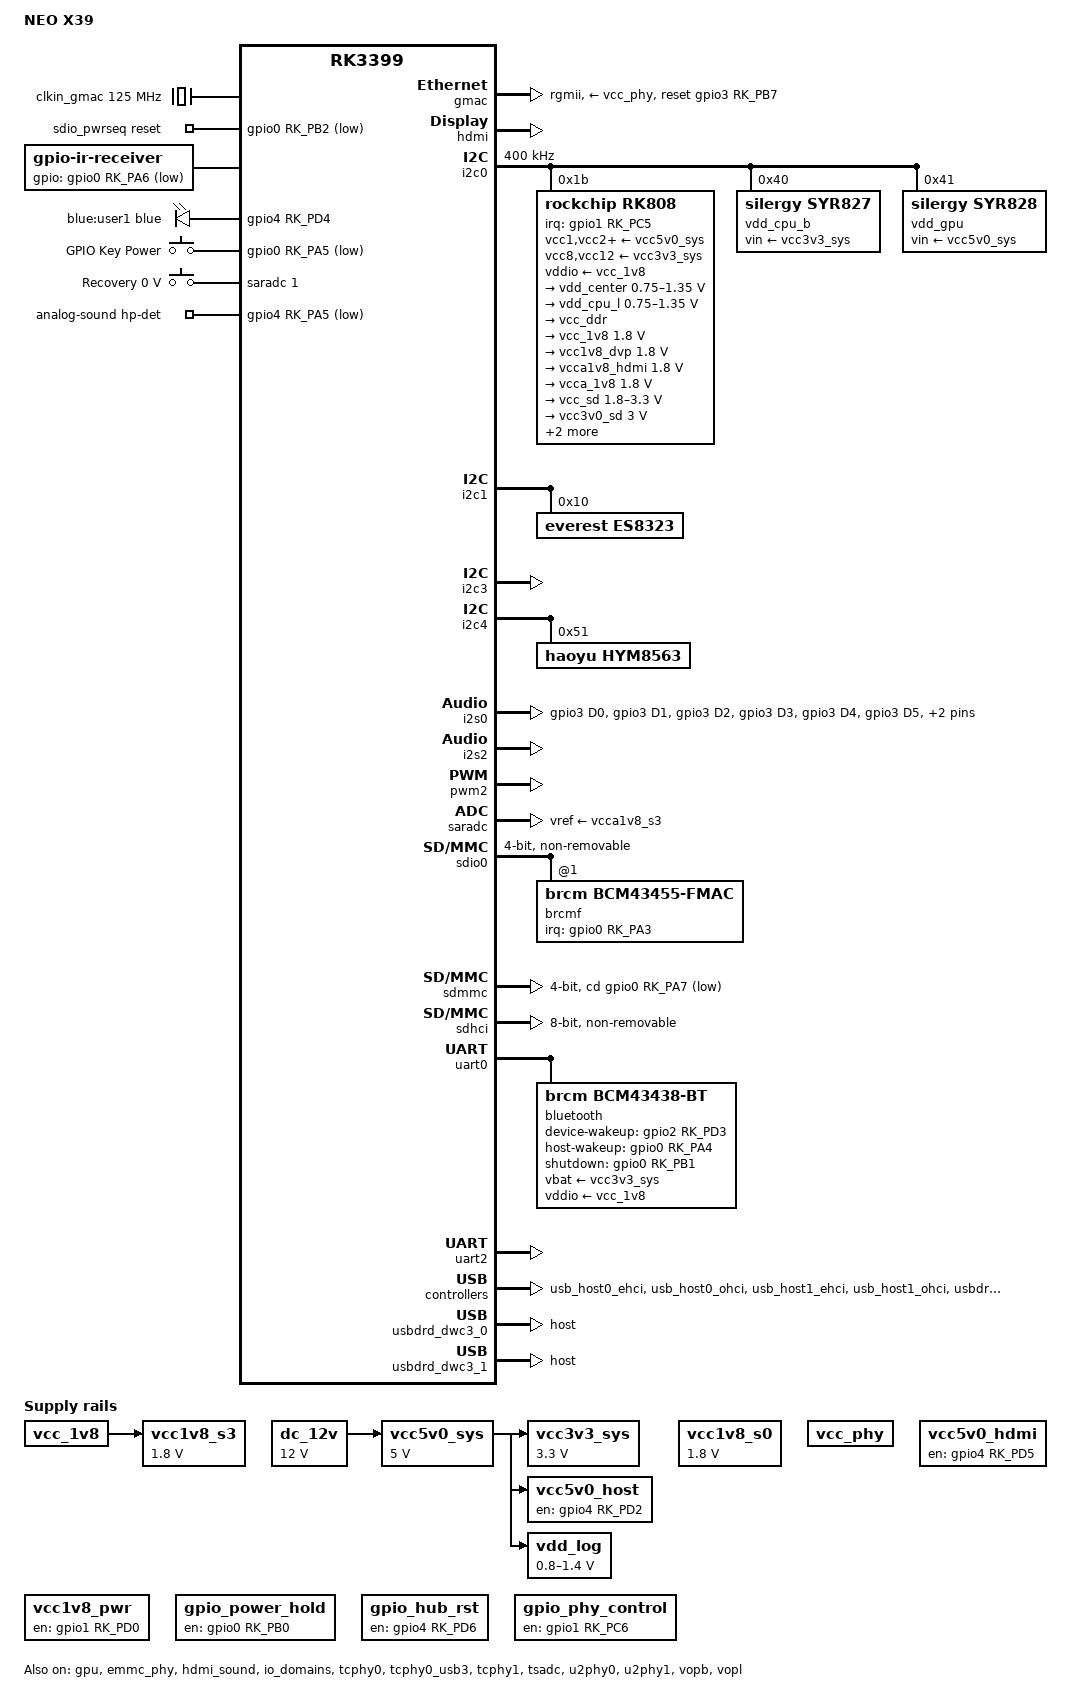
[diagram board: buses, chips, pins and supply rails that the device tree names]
// SPDX-License-Identifier: (GPL-2.0+ OR MIT)
/dts-v1/;

#include <dt-bindings/input/linux-event-codes.h>
#include <dt-bindings/leds/common.h>
#include <dt-bindings/pwm/pwm.h>
#include "dt-bindings/input/input.h"
#include <dt-bindings/interrupt-controller/irq.h>
#include "rk3399.dtsi"

/ {
	model = "NEO X39";
	compatible = "minix,neo-x39", "rockchip,rk3399";

	aliases {
		ethernet0 = &gmac;
		mmc0 = &sdio0;
		mmc1 = &sdmmc;
		mmc2 = &sdhci;
	};

	chosen {
		stdout-path = "serial2:1500000n8";
	};

	clkin_gmac: external-gmac-clock {
		compatible = "fixed-clock";
		clock-frequency = <125000000>;
		clock-output-names = "clkin_gmac";
		#clock-cells = <0>;
	};

	dc_12v: regulator-dc-12v {
		compatible = "regulator-fixed";
		regulator-name = "dc_12v";
		regulator-always-on;
		regulator-boot-on;
		regulator-min-microvolt = <12000000>;
		regulator-max-microvolt = <12000000>;
	};

	sdio_pwrseq: sdio-pwrseq {
		compatible = "mmc-pwrseq-simple";
		clocks = <&rk808 1>;
		clock-names = "ext_clock";
		pinctrl-names = "default";
		pinctrl-0 = <&wifi_enable_h>;
		reset-gpios = <&gpio0 RK_PB2 GPIO_ACTIVE_LOW>;
	};

	/* switched by pmic_sleep */
	vcc1v8_s3: vcca1v8_s3: regulator-vcc1v8-s3 {
		compatible = "regulator-fixed";
		regulator-name = "vcc1v8_s3";
		regulator-always-on;
		regulator-boot-on;
		regulator-min-microvolt = <1800000>;
		regulator-max-microvolt = <1800000>;
		vin-supply = <&vcc_1v8>;
	};

	vcc1v8_s0: regulator-vcc1v8-s0 {
		compatible = "regulator-fixed";
		regulator-name = "vcc1v8_s0";
		regulator-min-microvolt = <1800000>;
		regulator-max-microvolt = <1800000>;
		regulator-always-on;
	};

	vcc_phy: regulator-vcc-phy {
		compatible = "regulator-fixed";
		regulator-name = "vcc_phy";
		regulator-always-on;
		regulator-boot-on;
	};

	vcc3v3_sys: regulator-vcc3v3-sys {
		compatible = "regulator-fixed";
		regulator-name = "vcc3v3_sys";
		regulator-always-on;
		regulator-boot-on;
		regulator-min-microvolt = <3300000>;
		regulator-max-microvolt = <3300000>;
		vin-supply = <&vcc5v0_sys>;
	};

	vcc5v0_host: regulator-vcc5v0-host {
		compatible = "regulator-fixed";
		enable-active-high;
		gpio = <&gpio4 RK_PD2 GPIO_ACTIVE_HIGH>; // bsp
		pinctrl-names = "default";
		pinctrl-0 = <&vcc5v0_host_en>;
		regulator-name = "vcc5v0_host";
		regulator-always-on;
		vin-supply = <&vcc5v0_sys>;
	};

	vcc5v0_hdmi: regulator-vcc5v0-hdmi {
		compatible = "regulator-fixed";
		enable-active-high;
		gpio = <&gpio4 RK_PD5 GPIO_ACTIVE_HIGH>; // bsp
		pinctrl-names = "default";
		pinctrl-0 = <&hdmi_power>;
		regulator-name = "vcc5v0_hdmi";
		regulator-always-on;
	};

	vcc1v8_pwr: regulator-vcc1v8-pwr {
		compatible = "regulator-fixed";
		enable-active-high;
		gpio = <&gpio1 RK_PD0 GPIO_ACTIVE_HIGH>; // bsp
		pinctrl-names = "default";
		pinctrl-0 = <&vcc_pwr_1v8>;
		regulator-name = "vcc1v8_pwr";
		regulator-always-on;
	};

	vcc5v0_sys: regulator-vcc5v0-sys {
		compatible = "regulator-fixed";
		regulator-name = "vcc5v0_sys";
		regulator-always-on;
		regulator-boot-on;
		regulator-min-microvolt = <5000000>;
		regulator-max-microvolt = <5000000>;
		vin-supply = <&dc_12v>;
	};

	vdd_log: vdd-log {
		compatible = "pwm-regulator";
		pwms = <&pwm2 0 25000 1>;
		regulator-name = "vdd_log";
		regulator-always-on;
		regulator-boot-on;
		regulator-min-microvolt = <800000>;
		regulator-max-microvolt = <1400000>;
		vin-supply = <&vcc5v0_sys>;
	};

	gpio_power_hold: regulator-gpio-power-hold {
		compatible = "regulator-fixed";
		enable-active-high;
		gpio = <&gpio0 RK_PB0 GPIO_ACTIVE_HIGH>; // bsp
		pinctrl-names = "default";
		pinctrl-0 = <&power_hold>;
		regulator-name = "gpio_power_hold";
		regulator-always-on;
	};

/*
	hub-restart {
		compatible = "gpio-restart";
		gpios = <&gpio4 RK_PD6 GPIO_ACTIVE_LOW>;
		pinctrl-names = "default";
		pinctrl-0 = <&hub_rst>;
		priority = <200>;
		active-delay = <100>;
		inactive-delay = <10>;
		wait-delay = <100>;
	};
*/

	gpio_hub_rst: regulator-gpio-hub-rst {
		compatible = "regulator-fixed";
		enable-active-high;
		gpio = <&gpio4 RK_PD6 GPIO_ACTIVE_HIGH>; // bsp
		pinctrl-names = "default";
		pinctrl-0 = <&hub_rst>;
		regulator-name = "gpio_hub_rst";
		regulator-always-on;
	};

	gpio_phy_control: regulator-gpio-phy-control {
		compatible = "regulator-fixed";
		enable-active-high;
		gpio = <&gpio1 RK_PC6 GPIO_ACTIVE_HIGH>; // bsp
		pinctrl-names = "default";
		pinctrl-0 = <&phy_control_pins>;
		regulator-name = "gpio_phy_control";
		regulator-always-on;
	};

	// pwm3
	ir-receiver {
		compatible = "gpio-ir-receiver";
		gpios = <&gpio0 RK_PA6 GPIO_ACTIVE_LOW>;
		pinctrl-0 = <&ir_int>;
		pinctrl-names = "default";
	};

	leds: gpio-leds {
		compatible = "gpio-leds";
		pinctrl-names = "default";
		pinctrl-0 = <&user_led1>;

		user_led1 {
			label = "blue:user1";
			color = <LED_COLOR_ID_BLUE>;
			gpios = <&gpio4 RK_PD4 GPIO_ACTIVE_HIGH>; // bsp
			linux,default-trigger = "heartbeat";
		};
	};

/*
	fan0: gpio-fan {
		#cooling-cells = <2>;
		compatible = "gpio-fan";
		gpio-fan,speed-map = <0 0 3000 1>;
		gpios = <&gpio2 RK_PA3 GPIO_ACTIVE_HIGH>;
		status = "okay";
	};
*/
	gpio-keys {
		compatible = "gpio-keys";
		autorepeat;
		pinctrl-names = "default";
		pinctrl-0 = <&power_key>;

		key-power {
			debounce-interval = <100>;
			gpios = <&gpio0 RK_PA5 GPIO_ACTIVE_LOW>; // bsp
			label = "GPIO Key Power";
			linux,code = <KEY_POWER>;
			wakeup-source;
		};
	};

	adc-keys {
		compatible = "adc-keys";
		io-channels = <&saradc 1>;
		io-channel-names = "buttons";
		keyup-threshold-microvolt = <1750000>;
		poll-interval = <100>;

		recovery {
			label = "Recovery";
			linux,code = <KEY_VENDOR>;
			press-threshold-microvolt = <0>;
		};
	};

	analog-sound {
		compatible = "simple-audio-card";
		pinctrl-0 = <&hp_detect>;
		pinctrl-names = "default";
		simple-audio-card,format = "i2s";
		simple-audio-card,hp-det-gpios = <&gpio4 RK_PA5 GPIO_ACTIVE_LOW>;
		simple-audio-card,mclk-fs = <256>;
		simple-audio-card,name = "rockchip_es8323";
		simple-audio-card,routing =
			"Headphones", "LOUT2",
			"Headphones", "ROUT2",
			"LINPUT1", "Microphone Jack",
			"RINPUT1", "Microphone Jack";
		simple-audio-card,widgets =
			"Microphone", "Microphone Jack",
			"Headphone", "Headphones";

		simple-audio-card,cpu {
			sound-dai = <&i2s0>;
		};

		simple-audio-card,codec {
			sound-dai = <&es8323>;
			system-clock-frequency = <12288000>;
		};
	};
};

&cpu_l0 {
	cpu-supply = <&vdd_cpu_l>;
};

&cpu_l1 {
	cpu-supply = <&vdd_cpu_l>;
};

&cpu_l2 {
	cpu-supply = <&vdd_cpu_l>;
};

&cpu_l3 {
	cpu-supply = <&vdd_cpu_l>;
};

&cpu_b0 {
	cpu-supply = <&vdd_cpu_b>;
};

&cpu_b1 {
	cpu-supply = <&vdd_cpu_b>;
};

&gpu {
	mali-supply = <&vdd_gpu>;
	status = "okay";
};
/*
&cpu_thermal {
	trips {
		cpu_hot: cpu_hot {
			hysteresis = <10000>;
			temperature = <55000>;
			type = "active";
		};
	};

	cooling-maps {
		map2 {
			cooling-device = <&fan0 THERMAL_NO_LIMIT THERMAL_NO_LIMIT>;
			trip = <&cpu_hot>;
		};
	};
};
*/
&emmc_phy {
	status = "okay";
};

&gmac {
	assigned-clocks = <&cru SCLK_RMII_SRC>;
	assigned-clock-parents = <&clkin_gmac>;
	clock_in_out = "input";
	phy-supply = <&vcc_phy>;
	phy-mode = "rgmii";
	pinctrl-names = "default";
	pinctrl-0 = <&rgmii_pins>;
	pinctrl-1 = <&rgmii_sleep_pins>;
	snps,reset-gpio = <&gpio3 RK_PB7 GPIO_ACTIVE_HIGH>; // bsp
	snps,reset-active-high;
	snps,reset-delays-us = <0 10000 50000>;
	tx_delay = <0x28>;
	rx_delay = <0x11>;
	status = "okay";
};

&hdmi {
	ddc-i2c-bus = <&i2c3>;
	pinctrl-names = "default";
	pinctrl-0 = <&hdmi_cec>; // bsp
	status = "okay";
};

&hdmi_sound {
	status = "okay";
};

&i2c0 {
	clock-frequency = <400000>;
	i2c-scl-rising-time-ns = <168>;
	i2c-scl-falling-time-ns = <4>;
	status = "okay";

	rk808: pmic@1b {
		compatible = "rockchip,rk808";
		reg = <0x1b>;
		interrupt-parent = <&gpio1>;
		interrupts = <RK_PC5 IRQ_TYPE_LEVEL_LOW>;
		#clock-cells = <1>;
		clock-output-names = "rk808-clkout1", "rk808-clkout2";
		pinctrl-names = "default";
		pinctrl-0 = <&pmic_int_l>;
		system-power-controller;
		wakeup-source;

		vcc1-supply = <&vcc5v0_sys>;
		vcc2-supply = <&vcc5v0_sys>;
		vcc3-supply = <&vcc5v0_sys>;
		vcc4-supply = <&vcc5v0_sys>;
		vcc6-supply = <&vcc5v0_sys>;
		vcc7-supply = <&vcc5v0_sys>;
		vcc8-supply = <&vcc3v3_sys>;
		vcc9-supply = <&vcc5v0_sys>;
		vcc10-supply = <&vcc5v0_sys>;
		vcc11-supply = <&vcc5v0_sys>;
		vcc12-supply = <&vcc3v3_sys>;
		vddio-supply = <&vcc_1v8>;

		regulators {
			vdd_center: DCDC_REG1 {
				regulator-name = "vdd_center";
				regulator-always-on;
				regulator-boot-on;
				regulator-min-microvolt = <750000>;
				regulator-max-microvolt = <1350000>;
				regulator-ramp-delay = <6001>;
				regulator-state-mem {
					regulator-off-in-suspend;
				};
			};

			vdd_cpu_l: DCDC_REG2 {
				regulator-name = "vdd_cpu_l";
				regulator-always-on;
				regulator-boot-on;
				regulator-min-microvolt = <750000>;
				regulator-max-microvolt = <1350000>;
				regulator-ramp-delay = <6001>;
				regulator-state-mem {
					regulator-off-in-suspend;
				};
			};

			vcc_ddr: DCDC_REG3 {
				regulator-name = "vcc_ddr";
				regulator-always-on;
				regulator-boot-on;
				regulator-state-mem {
					regulator-on-in-suspend;
				};
			};

			vcc_1v8: DCDC_REG4 {
				regulator-name = "vcc_1v8";
				regulator-always-on;
				regulator-boot-on;
				regulator-min-microvolt = <1800000>;
				regulator-max-microvolt = <1800000>;
				regulator-state-mem {
					regulator-on-in-suspend;
					regulator-suspend-microvolt = <1800000>;
				};
			};

			vcc1v8_dvp: LDO_REG1 {
				regulator-name = "vcc1v8_dvp";
				regulator-always-on;
				regulator-boot-on;
				regulator-min-microvolt = <1800000>;
				regulator-max-microvolt = <1800000>;
				regulator-state-mem {
					regulator-on-in-suspend;
					regulator-suspend-microvolt = <1800000>;
				};
			};

			vcca1v8_hdmi: LDO_REG2 {
				regulator-name = "vcca1v8_hdmi";
				regulator-always-on;
				regulator-boot-on;
				regulator-min-microvolt = <1800000>;
				regulator-max-microvolt = <1800000>;

				regulator-state-mem {
					regulator-on-in-suspend;
					regulator-suspend-microvolt = <1800000>;
				};
			};

			vcca_1v8: LDO_REG3 {
				regulator-name = "vcca_1v8";
				regulator-always-on;
				regulator-boot-on;
				regulator-min-microvolt = <1800000>;
				regulator-max-microvolt = <1800000>;
				regulator-state-mem {
					regulator-on-in-suspend;
					regulator-suspend-microvolt = <1800000>;
				};
			};

			vcc_sd: LDO_REG4 {
				regulator-name = "vcc_sd";
				regulator-always-on;
				regulator-boot-on;
				regulator-min-microvolt = <1800000>;
				regulator-max-microvolt = <3300000>;
				regulator-state-mem {
					regulator-on-in-suspend;
					regulator-suspend-microvolt = <3300000>;
				};
			};

			vcc3v0_sd: LDO_REG5 {
				regulator-name = "vcc3v0_sd";
				regulator-always-on;
				regulator-boot-on;
				regulator-min-microvolt = <3000000>;
				regulator-max-microvolt = <3000000>;
				regulator-state-mem {
					regulator-on-in-suspend;
					regulator-suspend-microvolt = <3000000>;
				};
			};

			vcc_1v5: LDO_REG6 {
				regulator-name = "vcc_1v5";
				regulator-always-on;
				regulator-boot-on;
				regulator-min-microvolt = <1500000>;
				regulator-max-microvolt = <1500000>;
				regulator-state-mem {
					regulator-on-in-suspend;
					regulator-suspend-microvolt = <1500000>;
				};
			};

			vcca0v9_hdmi: LDO_REG7 {
				regulator-name = "vcca0v9_hdmi";
				regulator-always-on;
				regulator-boot-on;
				regulator-min-microvolt = <900000>;
				regulator-max-microvolt = <900000>;
				regulator-state-mem {
					regulator-on-in-suspend;
					regulator-suspend-microvolt = <900000>;
				};
			};

			vcc_3v0: LDO_REG8 {
				regulator-name = "vcc_3v0";
				regulator-always-on;
				regulator-boot-on;
				regulator-min-microvolt = <3000000>;
				regulator-max-microvolt = <3000000>;
				regulator-state-mem {
					regulator-on-in-suspend;
					regulator-suspend-microvolt = <3000000>;
				};
			};

			vcc3v3_s3: SWITCH_REG1 {
				regulator-name = "vcc3v3_s3";
				regulator-always-on;
				regulator-boot-on;
				regulator-state-mem {
					regulator-on-in-suspend;
				};
			};

			vcc3v3_s0: SWITCH_REG2 {
				regulator-name = "vcc3v3_s0";
				regulator-always-on;
				regulator-boot-on;
				regulator-state-mem {
					regulator-on-in-suspend;
				};
			};
		};
	};

	vdd_cpu_b: regulator@40 {
		compatible = "silergy,syr827";
		reg = <0x40>;
		fcs,suspend-voltage-selector = <1>;
		pinctrl-names = "default";
		pinctrl-0 = <&cpu_b_sleep>;
		regulator-name = "vdd_cpu_b";
		regulator-min-microvolt = <712500>;
		regulator-max-microvolt = <1500000>;
		regulator-ramp-delay = <1000>;
		regulator-always-on;
		regulator-boot-on;
		vin-supply = <&vcc3v3_sys>;

		regulator-state-mem {
			regulator-off-in-suspend;
		};
	};

	vdd_gpu: regulator@41 {
		compatible = "silergy,syr828";
		reg = <0x41>;
		fcs,suspend-voltage-selector = <1>;
		pinctrl-names = "default";
		pinctrl-0 = <&gpu_sleep>;
		regulator-name = "vdd_gpu";
		regulator-min-microvolt = <712500>;
		regulator-max-microvolt = <1500000>;
		regulator-ramp-delay = <1000>;
		regulator-always-on;
		regulator-boot-on;
		vin-supply = <&vcc5v0_sys>;

		regulator-state-mem {
			regulator-off-in-suspend;
		};
	};
};

// es8323
&i2c1 {
	i2c-scl-rising-time-ns = <450>;
	i2c-scl-falling-time-ns = <15>;
	status = "okay";
	es8323: audio-codec@10 {
		compatible = "everest,es8323";
		reg = <0x10>;
		assigned-clocks = <&cru SCLK_I2S_8CH_OUT>;
		clocks = <&cru SCLK_I2S_8CH_OUT>;
		clock-names = "mclk";
		#sound-dai-cells = <0>;
	};
};

// Used for HDMI
&i2c3 {
	i2c-scl-rising-time-ns = <450>;
	i2c-scl-falling-time-ns = <15>;
	status = "okay";
};

// MCU + RTC
&i2c4 {
	i2c-scl-rising-time-ns = <450>;
	i2c-scl-falling-time-ns = <15>;
	status = "okay";

	hym8563: rtc@51 {
		compatible = "haoyu,hym8563";
		reg = <0x51>;
		#clock-cells = <0>;
		clock-output-names = "xin32k";
		/* rtc_int is connected to STM8 */
	};
};

&i2s0 {
	pinctrl-names = "default";
	pinctrl-0 = <&i2s_8ch_mclk_pin>;
	#sound-dai-cells = <0>;
	rockchip,playback-channels = <8>;
	rockchip,capture-channels = <8>;
	status = "okay";
};

// HDMI sound
&i2s2 {
	rockchip,playback-channels = <2>;
	rockchip,capture-channels = <2>;
	status = "okay";
};

&io_domains {
	status = "okay";

	bt656-supply = <&vcc1v8_s0>;
	audio-supply = <&vcc1v8_s0>;
	sdmmc-supply = <&vcc_sd>;
	gpio1830-supply = <&vcc_3v0>;
};

&pmu_io_domains {
	status = "okay";
	pmu1830-supply = <&vcc_1v8>;
};

&pinctrl {
	pmic {
		cpu_b_sleep: cpu-b-sleep {
			rockchip,pins = <1 RK_PC1 RK_FUNC_GPIO &pcfg_pull_down>; // bsp
		};

		gpu_sleep: gpu-sleep {
			rockchip,pins = <1 RK_PB6 RK_FUNC_GPIO &pcfg_pull_down>; // bsp
		};

		pmic_int_l: pmic-int-l {
			rockchip,pins = <1 RK_PC5 RK_FUNC_GPIO &pcfg_pull_up>; // bsp
		};
	};

	usb2 {
		vcc5v0_host_en: vcc5v0-host-en {
			rockchip,pins = <4 RK_PD2 RK_FUNC_GPIO &pcfg_pull_none>; // bsp
		};
		hub_rst: hub-rst {
			rockchip,pins = <4 RK_PD6 RK_FUNC_GPIO &pcfg_pull_none>; // bsp
		};
	};

	ir {
		ir_int: ir-int {
			rockchip,pins = <0 RK_PA6 RK_FUNC_GPIO &pcfg_pull_none>; // bsp
		};
	};

	leds {
		user_led1: user_led1 {
			rockchip,pins = <4 RK_PD4 RK_FUNC_GPIO &pcfg_pull_none>; // bsp
		};
	};

	buttons {
		power_key: power_key {
			rockchip,pins = <0 RK_PA5 RK_FUNC_GPIO &pcfg_pull_up>; // bsp
		};
	};

	bt {
		bt_host_wake_l: bt-host-wake-l {
			rockchip,pins = <0 RK_PA4 RK_FUNC_GPIO &pcfg_pull_none>; // bsp
		};

		bt_reg_on_h: bt-reg-on-h {
			/* external pullup to VCC1V8_PMUPLL */
			rockchip,pins = <0 RK_PB1 RK_FUNC_GPIO &pcfg_pull_none>; // bsp
		};

		bt_wake_l: bt-wake-l {
			rockchip,pins = <2 RK_PD3 RK_FUNC_GPIO &pcfg_pull_none>; // bsp
		};
	};

	wifi {
		wifi_enable_h: wifi-enable-h {
			rockchip,pins = <0 RK_PB2 RK_FUNC_GPIO &pcfg_pull_none>; // bsp
		};

		wifi_host_wake_l: wifi-host-wake-l {
			rockchip,pins = <0 RK_PA3 RK_FUNC_GPIO &pcfg_pull_none>; // bsp
		};
	};

	gmac {
		rgmii_sleep_pins: rgmii-sleep-pins {
			rockchip,pins =<3 RK_PB7 RK_FUNC_GPIO &pcfg_output_high>; // bsp
		};
		phy_control_pins: phy-control-pins {
			rockchip,pins =<1 RK_PC6 RK_FUNC_GPIO &pcfg_output_high>; // bsp
		};
	};

	sound {
		hp_detect: hp-detect {
			rockchip,pins = <4 RK_PA5 RK_FUNC_GPIO &pcfg_pull_none>;
		};
		i2s_8ch_mclk_pin: i2s0-8ch-mclk-pin {
			rockchip,pins =
				<3 RK_PD0 1 &pcfg_pull_none>,
				<3 RK_PD1 1 &pcfg_pull_none>,
				<3 RK_PD2 1 &pcfg_pull_none>,
				<3 RK_PD3 1 &pcfg_pull_none>,
				<3 RK_PD4 1 &pcfg_pull_none>,
				<3 RK_PD5 1 &pcfg_pull_none>,
				<3 RK_PD6 1 &pcfg_pull_none>,
				<3 RK_PD7 1 &pcfg_pull_none>;
		};
	};

	misc {
		// hdmi_5v_gpio = <&gpio4 RK_PD5 0x00>;
		// hub_rst_gpio = <&gpio4 RK_PD6 0x00>;
		// power_hold_gpio = <&gpio0 RK_PB0 0x00>;
		// mic_switch_gpio = <&gpio4 RK_PA6 0x00>;
		// audio_switch_gpio = <&gpio4 RK_PA7 0x00>;
		// pwm_gpio = <&gpio4 RK_PC6 0x00>; // pwm1
		// pwms = <0xdc 0x00 0xf4240 0x00>;
		// pinctrl-names = "default";
		// pinctrl-0 = <0xdd>;
		// ddr_check_1_gpio = <&gpio2 RK_PA0 0x00>;
		// ddr_check_2_gpio = <&gpio2 RK_PA7 0x00>;
		// ddr_check_3_gpio = <&gpio2 RK_PB3 0x00>;
		// ddr_check_4_gpio = <&gpio2 RK_PB4 0x00>;

		hdmi_power: hdmi-power-pin {
			rockchip,pins =<4 RK_PD5 RK_FUNC_GPIO &pcfg_pull_none>; // bsp
		};
		power_hold: power-hold-pin {
			rockchip,pins =<0 RK_PB0 RK_FUNC_GPIO &pcfg_pull_none>; // bsp
		};
		vcc_pwr_1v8: vcc-pwr-1v8-pin {
			rockchip,pins =<1 RK_PD0 RK_FUNC_GPIO &pcfg_pull_none>; // bsp
		};

		mcu_inter_typec_pullout: mcu-inter-typec-pullout-pin {
			rockchip,pins =<1 RK_PA0 RK_FUNC_GPIO &pcfg_pull_none>; // bsp
		};
		mcu_watchdog_gpio: mcu-watchdog-pin {
			rockchip,pins =<1 RK_PA1 RK_FUNC_GPIO &pcfg_pull_none>; // bsp
		};
		mcu_inter_gpio: mcu-inter-pin {
			rockchip,pins =<1 RK_PA2 RK_FUNC_GPIO &pcfg_pull_none>; // bsp
		};
	};
};

&pwm2 {
	status = "okay";
};

&saradc {
	vref-supply = <&vcca1v8_s3>;
	status = "okay";
};

// WiFi AP6356S
&sdio0 {
	status = "okay";
	#address-cells = <1>;
	#size-cells = <0>;
	bus-width = <4>;
	clock-frequency = <50000000>;
	cap-sdio-irq;
	cap-sd-highspeed;
	keep-power-in-suspend;
	mmc-pwrseq = <&sdio_pwrseq>;
	non-removable;
	pinctrl-names = "default";
	pinctrl-0 = <&sdio0_bus4 &sdio0_cmd &sdio0_clk>;
	sd-uhs-sdr104;

	brcmf: wifi@1 {
		compatible = "brcm,bcm43455-fmac";

		reg = <1>;
		interrupt-parent = <&gpio0>;
		interrupts = <RK_PA3 IRQ_TYPE_LEVEL_HIGH>; // bsp
		interrupt-names = "host-wake";
		pinctrl-names = "default";
		pinctrl-0 = <&wifi_host_wake_l>; // bsp
	};
};

&sdmmc {
	bus-width = <4>;
	cap-mmc-highspeed;
	cap-sd-highspeed;
	cd-gpios = <&gpio0 RK_PA7 GPIO_ACTIVE_LOW>; // bsp
	clock-frequency = <100000000>;
	disable-wp;
	sd-uhs-sdr104;
	pinctrl-names = "default";
	pinctrl-0 = <&sdmmc_clk &sdmmc_cmd &sdmmc_cd &sdmmc_bus4>;
	vqmmc-supply = <&vcc_sd>;
	card-detect-delay = <800>;
	status = "okay";
};

&sdhci {
	bus-width = <8>;
	mmc-hs400-1_8v;
	mmc-hs400-enhanced-strobe;
	keep-power-in-suspend;
	non-removable;
	status = "okay";
};

&tcphy0 {
	status = "okay";
};

&tcphy0_usb3 {
	status = "okay";
};

&tcphy1 {
	status = "okay";
};

&tsadc {
	/* tshut mode 0:CRU 1:GPIO */
	rockchip,hw-tshut-mode = <1>;
	/* tshut polarity 0:LOW 1:HIGH */
	rockchip,hw-tshut-polarity = <1>;
	status = "okay";
};

&u2phy0 {
	status = "okay";

	u2phy0_otg: otg-port {
		status = "okay";
	};

	u2phy0_host: host-port {
		status = "okay";
	};
};

&u2phy1 {
	status = "okay";

	u2phy1_otg: otg-port {
		status = "okay";
	};

	u2phy1_host: host-port {
		status = "okay";
	};
};

&uart0 {
	pinctrl-names = "default";
	pinctrl-0 = <&uart0_xfer &uart0_rts &uart0_cts>;
	status = "okay";

	bluetooth {
		compatible = "brcm,bcm43438-bt";
		clocks = <&rk808 1>;
		clock-names = "lpo";
		device-wakeup-gpios = <&gpio2 RK_PD3 GPIO_ACTIVE_HIGH>; // bsp
		host-wakeup-gpios = <&gpio0 RK_PA4 GPIO_ACTIVE_HIGH>; // bsp
		shutdown-gpios = <&gpio0 RK_PB1 GPIO_ACTIVE_HIGH>; // bsp
		max-speed = <4000000>;
		pinctrl-names = "default";
		pinctrl-0 = <&bt_reg_on_h &bt_host_wake_l &bt_wake_l>;
		vbat-supply = <&vcc3v3_sys>;
		vddio-supply = <&vcc_1v8>;
	};
};

// Debug TTL
&uart2 {
	status = "okay";
};

&usb_host0_ehci {
	status = "okay";
};

&usb_host0_ohci {
	status = "okay";
};

&usb_host1_ehci {
	status = "okay";
};

&usb_host1_ohci {
	status = "okay";
};

&usbdrd3_0 {
	status = "okay";
};

&usbdrd_dwc3_0 {
	status = "okay";
	dr_mode = "host";
};

&usbdrd3_1 {
	status = "okay";
};

&usbdrd_dwc3_1 {
	status = "okay";
	dr_mode = "host";
};

&vopb {
	status = "okay";
};

&vopb_mmu {
	status = "okay";
};

&vopl {
	status = "okay";
};

&vopl_mmu {
	status = "okay";
};

&iep_mmu {
	status = "okay";
};
